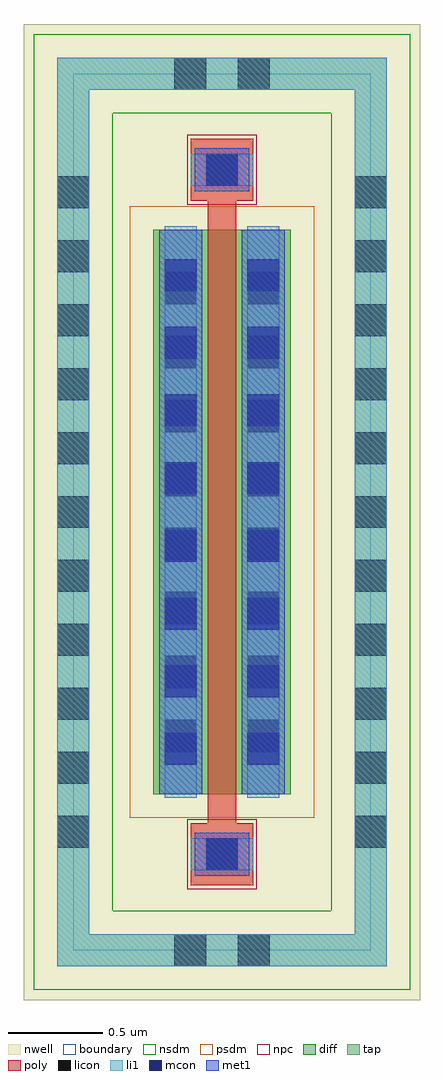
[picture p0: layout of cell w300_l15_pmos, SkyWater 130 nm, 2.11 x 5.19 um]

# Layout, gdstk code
import gdstk
lib = gdstk.Library(unit=1e-6, precision=1e-09)
def R(c, l, rs):  # rectangles x0, y0, x1, y1
    for r in rs: c.add(gdstk.rectangle(r[:2], r[2:], *l))
def A(c, l, x, y, w, h, nx, ny, dx, dy):  # array of equal rectangles
    R(c, l, [(x+i*dx, y+j*dy, x+i*dx+w, y+j*dy+h) for i in range(nx) for j in range(ny)])
nwell = (64, 20)
diff = (65, 20)
tap = (65, 44)
poly = (66, 20)
licon = (66, 44)
li1 = (67, 20)
mcon = (67, 44)
met1 = (68, 20)
nsdm = (93, 44)
psdm = (94, 20)
npc = (95, 20)
boundary = (235, 4)

sky130_fd_pr__pfet_01v8 = lib.new_cell('sky130_fd_pr__pfet_01v8')

w300_l15_pmos = lib.new_cell('w300_l15_pmos')
R(w300_l15_pmos, nwell, [(-1.055,-2.595,1.055,2.595)])
R(w300_l15_pmos, diff, [(-0.365,-1.5,0.365,1.5)])
R(w300_l15_pmos, tap, [(-0.875,-2.415,0.875,-2.245), (-0.875,-2.245,-0.705,2.245), (0.705,-2.245,0.875,2.245), (-0.875,2.245,0.875,2.415)])
R(w300_l15_pmos, poly, [(-0.165,-1.985,0.165,-1.655), (-0.075,-1.655,0.075,1.655), (-0.165,1.655,0.165,1.985)])
A(w300_l15_pmos, licon, -0.875, -1.785, 0.17, 0.17, 1, 11, 0, 0.34)
A(w300_l15_pmos, licon, 0.705, -1.785, 0.17, 0.17, 1, 11, 0, 0.34)
A(w300_l15_pmos, licon, -0.305, -1.275, 0.17, 0.17, 1, 8, 0, 0.34)
A(w300_l15_pmos, licon, 0.135, -1.275, 0.17, 0.17, 1, 8, 0, 0.34)
R(w300_l15_pmos, licon, [(-0.255,-2.415,-0.085,-2.245), (0.085,-2.415,0.255,-2.245), (-0.085,-1.905,0.085,-1.735), (-0.085,1.735,0.085,1.905), (-0.255,2.245,-0.085,2.415), (0.085,2.245,0.255,2.415)])
R(w300_l15_pmos, li1, [(-0.875,-2.415,0.875,-2.245), (-0.875,-2.245,-0.705,2.245), (0.705,-2.245,0.875,2.245), (-0.165,-1.905,0.165,-1.735), (-0.305,-1.52,-0.135,1.52), (0.135,-1.52,0.305,1.52), (-0.165,1.735,0.165,1.905), (-0.875,2.245,0.875,2.415)])
A(w300_l15_pmos, mcon, -0.305, -1.345, 0.17, 0.17, 1, 8, 0, 0.36)
A(w300_l15_pmos, mcon, 0.135, -1.345, 0.17, 0.17, 1, 8, 0, 0.36)
R(w300_l15_pmos, mcon, [(-0.085,-1.905,0.085,-1.735), (-0.085,1.735,0.085,1.905)])
R(w300_l15_pmos, met1, [(-0.145,-1.935,0.145,-1.705), (-0.335,-1.5,-0.105,1.5), (0.105,-1.5,0.335,1.5), (-0.145,1.705,0.145,1.935)])
R(w300_l15_pmos, nsdm, [(-1,-2.54,1,-2.12), (-1,-2.12,-0.58,2.12), (0.58,-2.12,1,2.12), (-1,2.12,1,2.54)])
R(w300_l15_pmos, psdm, [(-0.49,-1.625,0.49,1.625)])
R(w300_l15_pmos, npc, [(-0.185,-2.005,0.185,-1.635), (-0.185,1.635,0.185,2.005)])
R(w300_l15_pmos, boundary, [(-0.79,-2.33,0.79,2.33)])
w300_l15_pmos.add(gdstk.Reference(sky130_fd_pr__pfet_01v8, (0,0)))

lib.write_gds('w300_l15_pmos.gds')
